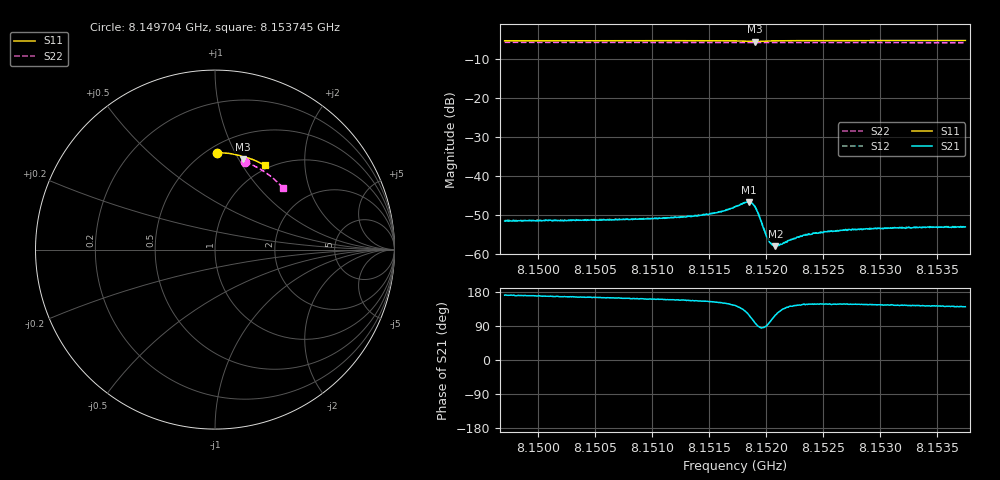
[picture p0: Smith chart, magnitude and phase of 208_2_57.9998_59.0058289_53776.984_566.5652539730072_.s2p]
#  HZ  S  RI  R  50.00
! Rohde & Schwarz Vector Network Analyzer
! Rohde-Schwarz,ZNB20-2Port,1311601062101988,3.16
! Created: UTC 3/21/2024, 12:59:38 AM
! freq[Hz]  re:S11  im:S11  re:S21  im:S21  re:S12  im:S12  re:S22  im:S22
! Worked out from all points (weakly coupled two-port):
!   401 points, 8.149704 GHz to 8.153745 GHz, reference 50 ohm
!   highest |S21| = -46.71 dB at 8.151846 GHz (marker M1); lowest = -58.1 dB at 8.152078 GHz (marker M2)
!   lowest |S11| = -5.6 dB at 8.151896 GHz (marker M3), VSWR 3.23, Z = 37.3 + j52 ohm
!   |S11| at or under -10 dB: nowhere
!   |S22| runs from -5.8 to -5.7 dB; largest |S21 - S12| = 0.00012
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8.1497045e9  0.00998 0.5396  -0.00259 0.000407  -0.00262 0.000454  0.1675 0.4879
8.1503812e9  0.0573 0.5378  -0.0026 0.000657  -0.00265 0.000719  0.2084 0.4712
8.151058e9  0.1047 0.5315  -0.00269 0.000984  -0.00267 0.001  0.2471 0.4511
8.1512802e9  0.1203 0.5284  -0.00276 0.00111  -0.00274 0.00117  0.2594 0.4439
8.1514822e9  0.1351 0.5249  -0.0029 0.00135  -0.00287 0.00144  0.2704 0.4369
8.1516236e9  0.1458 0.5212  -0.00305 0.00177  -0.00306 0.00176  0.278 0.4319
8.1517246e9  0.1539 0.5169  -0.00324 0.00236  -0.00318 0.00244  0.2835 0.428
8.1518156e9  0.1594 0.5092  -0.00283 0.00355  -0.00277 0.00363  0.288 0.4245
8.1518459e9  0.1591 0.5058  -0.00224 0.00404  -0.00219 0.00411  0.2896 0.4234
8.1518762e9  0.157 0.5036  -0.00133 0.0042  -0.00127 0.00427  0.291 0.4221
8.1518964e9  0.155 0.5035  -0.000645 0.00403  -0.000634 0.00405  0.2918 0.4215
8.1519267e9  0.153 0.5057  4.47e-05 0.00333  7.41e-05 0.00336  0.2934 0.4206
8.1519873e9  0.1553 0.5115  8.47e-05 0.00189  0.000116 0.00193  0.2965 0.4185
8.1520176e9  0.1583 0.513  -0.000146 0.00149  -0.000139 0.00154  0.2982 0.4175
8.1520479e9  0.1613 0.5138  -0.000377 0.00126  -0.000349 0.00126  0.2998 0.4164
8.1520782e9  0.164 0.5139  -0.000595 0.0011  -0.000553 0.00112  0.3013 0.4153
8.1521186e9  0.1678 0.514  -0.000832 0.00102  -0.000834 0.00101  0.3035 0.4135
8.1522802e9  0.1808 0.5116  -0.00132 0.000939  -0.00134 0.000931  0.3117 0.4072
8.1524014e9  0.1897 0.509  -0.00151 0.000951  -0.0015 0.00102  0.3178 0.4024
8.1526741e9  0.2084 0.5025  -0.00171 0.00109  -0.00167 0.00113  0.3311 0.391
8.1530782e9  0.2347 0.4916  -0.00174 0.00122  -0.00176 0.00124  0.35 0.3736
8.1537448e9  0.2763 0.4707  -0.00171 0.0014  -0.00171 0.00145  0.3789 0.3426
